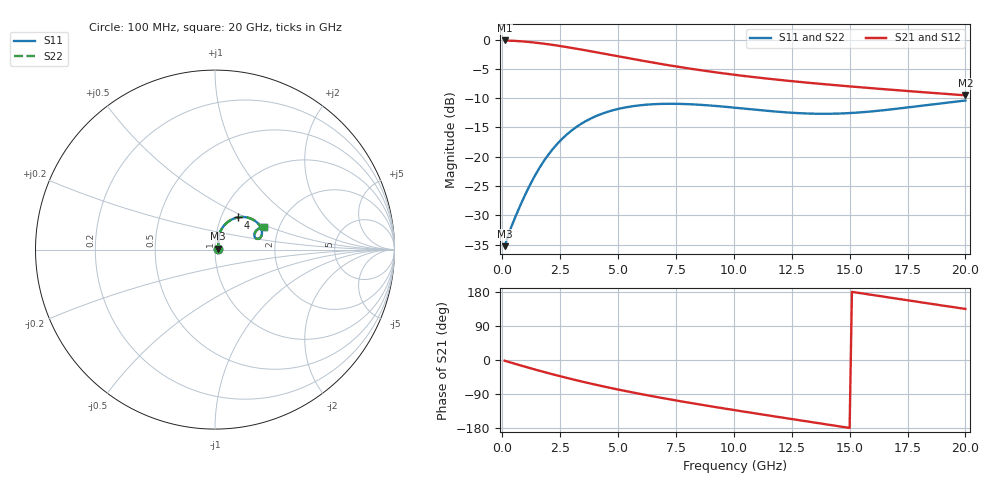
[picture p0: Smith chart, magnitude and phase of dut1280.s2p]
! Touchstone file exported from HFSS 2024.1.0
!  File:  C:/UserFiles/LocalFiles/RDL_TSV_Batchsim/temp_RDL_TSV_1280_1780276889.aedt
!  Generated:  09:40:58 AM Jun  1, 2026
!  Design:  RDL_TSV
!  Project:  temp_RDL_TSV_1280_1780276889
!  Setup:  Setup1
!  Solution:  Sweep
! Variables:
!  dtsv = 8.46um
!  hbump = 3um
!  htsv = 61.74um
!  ldown = 697.83um
!  lrdl = 358.9um
!  p = 40
!  p1 = 46.43um
!  rhole = 10um
!  subl = 3529.09um
!  t = 450um
!  tdown = 4.66um
!  trdl = 3.27um
!  viad = 10um
!  wdown = 16.32um
!  wrdl = 27.44um
!  xbump = 18um
# GHz S MA R 50.000000
! Terminal data exported
! Port[1] = TM1_1_T1
! Port[2] = TM1_4_T1
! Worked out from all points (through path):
!   200 points, 100 MHz to 20 GHz, reference 50 ohm
!   highest |S21| = -0.15 dB at 100 MHz (marker M1); lowest = -9.5 dB at 20 GHz (marker M2)
!   group delay of S21, straight-line fit = 29.6 ps
!   lowest |S11| = -35.3 dB at 100 MHz (marker M3), VSWR 1.04, Z = 51.7 + j0.527 ohm
!   |S11| at or under -10 dB: start of sweep to end of sweep
!   |S22| runs from -35.3 to -10.4 dB; largest |S21 - S12| = 3.6e-14
!   S11 on the Smith chart (normalised r, x): 100 MHz: 1.03, +0.01; 4 GHz: 1.20, +0.45; 20 GHz: 1.68, +0.46
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0.1  0.01722 17.2  0.9833 -1.9  0.9833 -1.9  0.01722 17.2
! Gamma 0 0 0 0
! Port Impedance 50 0 50 0
0.4  0.0255 44.6  0.9782 -7.4  0.9782 -7.4  0.02551 44.6
0.9  0.04341 65.3  0.9642 -16.3  0.9642 -16.3  0.0434 65.3
1.3  0.06289 72.4  0.948 -23.2  0.948 -23.2  0.06287 72.4
1.7  0.08598 74.3  0.9282 -30.0  0.9282 -30.0  0.08595 74.3
2.1  0.1111 73.2  0.9057 -36.5  0.9057 -36.5  0.1111 73.2
2.5  0.1368 70.3  0.8813 -42.8  0.8813 -42.8  0.1368 70.3
3  0.1678 65.5  0.8493 -50.5  0.8493 -50.5  0.1677 65.5
3.5  0.1959 60.1  0.8164 -57.8  0.8164 -57.8  0.1958 60.1
4  0.2201 54.6  0.7836 -64.8  0.7836 -64.8  0.22 54.5
4.7  0.2468 47.1  0.7388 -74.1  0.7388 -74.1  0.2467 47.1
5.4  0.2654 40.3  0.6966 -82.9  0.6966 -82.9  0.2653 40.3
6.8  0.2822 29.0  0.622 -99.1  0.622 -99.1  0.2823 29.0
7.6  0.2827 24.0  0.5858 -107.8  0.5858 -107.8  0.2828 24.0
8.4  0.2786 20.0  0.5539 -116.1  0.5539 -116.1  0.2788 20.0
10.1  0.2616 14.9  0.4986 -133.0  0.4986 -133.0  0.2619 14.8
11.7  0.2439 14.2  0.4586 -148.3  0.4586 -148.3  0.2444 14.0
13.4  0.2331 17.0  0.4248 -164.3  0.4248 -164.3  0.2335 16.8
15  0.2358 21.3  0.3985 -179.2  0.3985 -179.2  0.2361 21.0
16.7  0.2523 24.8  0.3743 165.0  0.3743 165.0  0.2524 24.4
18.4  0.2773 25.8  0.3527 149.3  0.3527 149.3  0.277 25.4
20  0.302 24.7  0.3343 134.8  0.3343 134.8  0.3014 24.2
